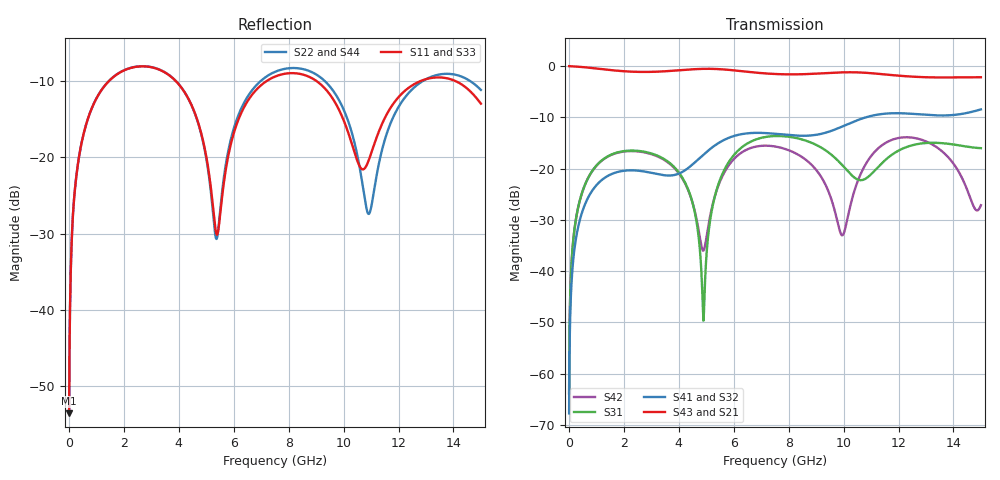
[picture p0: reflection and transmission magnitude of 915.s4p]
! Created with skrf 1.8.0 (http://scikit-rf.org).
# GHz S RI R 50.0
!freq ReS11 ImS11 ReS12 ImS12 ReS13 ImS13
! ReS14 ImS14
! ReS21 ImS21 ReS22 ImS22 ReS23 ImS23
! ReS24 ImS24
! ReS31 ImS31 ReS32 ImS32 ReS33 ImS33
! ReS34 ImS34
! ReS41 ImS41 ReS42 ImS42 ReS43 ImS43
! ReS44 ImS44
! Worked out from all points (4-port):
!   2499 points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, 5 MHz to 15 GHz, reference 50 ohm
!   strongest paths, dB at 5 MHz, 3.476 GHz, 7.19 GHz, 11.1 GHz, 15 GHz:
!     S43: 0.0, -1.0, -1.4, -1.4, -2.2
!     S21: 0.0, -1.0, -1.4, -1.4, -2.2
!     S41: -67.7, -21.3, -13.1, -9.6, -8.4
!     S32: -67.7, -21.4, -13.1, -9.6, -8.4
!     S31: -63.8, -18.2, -13.8, -20.6, -16.0
!     S42: -63.8, -18.3, -15.5, -16.9, -27.1
!   lowest |S11| = -53.6 dB at 5 MHz (marker M1), VSWR 1.00, Z = 50.2 + j0.128 ohm
!   |S11| at or under -10 dB: start of sweep to 1.451 GHz; 3.894 GHz to 7.191 GHz (3.298 GHz wide, 59.5 % of centre); 9.02 GHz to 12.79 GHz (3.773 GHz wide, 34.6 % of centre) (the widest 3 of 4)
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0.005  0.00167 0.00127  0.9983 -0.00325  8.31e-05 0.000637  -8.08e-05 -0.000403
       0.9983 -0.00325  0.00167 0.00127  -8.08e-05 -0.000403  8.3e-05 0.000637
       8.31e-05 0.000637  -8.08e-05 -0.000403  0.00167 0.00127  0.9983 -0.00325
       -8.08e-05 -0.000403  8.3e-05 0.000637  0.9983 -0.00325  0.00167 0.00127
0.3626511  0.0311 0.0952  0.9572 -0.2323  0.0145 0.0429  -0.0119 -0.0266
           0.9572 -0.2323  0.0311 0.0952  -0.0119 -0.0266  0.0142 0.043
           0.0145 0.0429  -0.0119 -0.0266  0.0311 0.0952  0.9572 -0.2323
           -0.0119 -0.0266  0.0142 0.043  0.9572 -0.2323  0.0311 0.0952
1.619545  0.2895 0.1725  0.5072 -0.7537  0.1305 0.0504  -0.0901 0.000417
          0.5072 -0.7537  0.2906 0.1715  -0.09 0.000248  0.1276 0.0548
          0.1305 0.0504  -0.09 0.000248  0.2896 0.1724  0.5073 -0.7537
          -0.0901 0.000417  0.1276 0.0548  0.5073 -0.7537  0.2905 0.1716
4.899091  0.0613 -0.1085  -0.8793 -0.3324  -0.0033 0.000117  -0.0437 0.1301
          -0.8793 -0.3324  0.0579 -0.108  -0.0457 0.1294  -0.0157 -0.00248
          -0.0033 0.000117  -0.0457 0.1294  0.0612 -0.1092  -0.8792 -0.3327
          -0.0437 0.1301  -0.0157 -0.00248  -0.8792 -0.3327  0.0586 -0.1084
8.315965  0.3548 -0.0172  -0.00304 0.8301  0.1395 -0.1401  0.1998 -0.0642
          -0.00304 0.8301  0.3816 -0.0482  0.1996 -0.0588  0.1357 -0.0267
          0.1395 -0.1401  0.1996 -0.0588  0.3528 -0.0186  -0.00301 0.8312
          0.1998 -0.0642  0.1357 -0.0267  -0.00301 0.8312  0.378 -0.0473
11.10463  0.1017 0.0642  0.8477 -0.0382  -0.00844 0.0937  -0.0353 -0.3294
          0.8477 -0.0382  0.0506 0.032  -0.0251 -0.3299  0.0851 0.1152
          -0.00844 0.0937  -0.0251 -0.3299  0.1012 0.0688  0.8476 -0.0394
          -0.0353 -0.3294  0.0851 0.1152  0.8476 -0.0394  0.05 0.0342
15  0.2091 -0.0832  -0.4661 -0.6214  -0.1231 -0.0998  -0.2993 0.2313
    -0.4661 -0.6214  0.2454 -0.1286  -0.3097 0.2175  -0.044 0.0015
    -0.1231 -0.0998  -0.3097 0.2175  0.1986 -0.0836  -0.4687 -0.6217
    -0.2993 0.2313  -0.044 0.0015  -0.4687 -0.6217  0.2425 -0.1218
